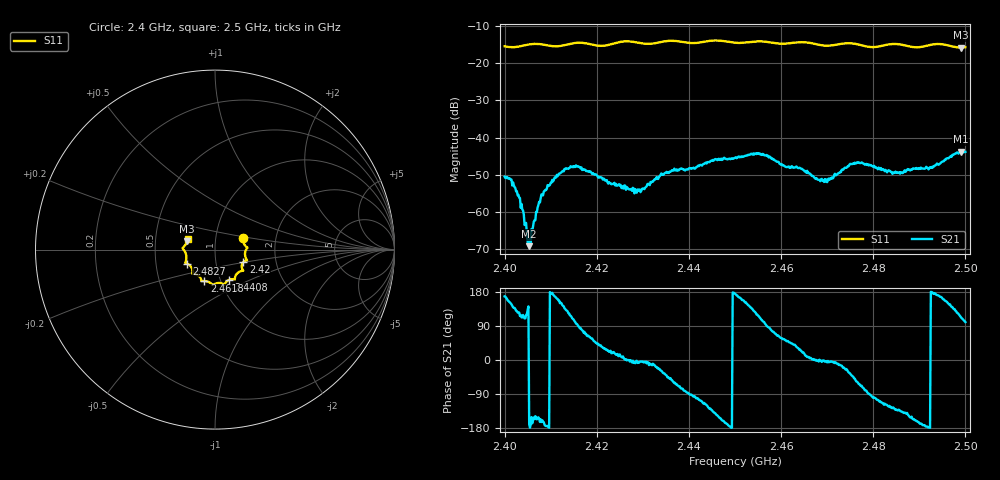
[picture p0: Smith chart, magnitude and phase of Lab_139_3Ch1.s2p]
# Hz S RI R 50
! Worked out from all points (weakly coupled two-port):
!   601 points, 2.4 GHz to 2.5 GHz, reference 50 ohm
!   highest |S21| = -43.84 dB at 2.499 GHz (marker M1); lowest = -69.2 dB at 2.4053 GHz (marker M2)
!   lowest |S11| = -15.8 dB at 2.499 GHz (marker M3), VSWR 1.39, Z = 36.5 + j3.54 ohm
!   |S11| at or under -10 dB: start of sweep to end of sweep
!   S12 and S22 are empty: the file has one direction only
!   S11 on the Smith chart (normalised r, x): 2.4 GHz: 1.36, +0.17; 2.42 GHz: 1.36, -0.19; 2.4408 GHz: 1.10, -0.38; 2.4618 GHz: 0.84, -0.30; 2.4827 GHz: 0.72, -0.12; 2.5 GHz: 0.73, +0.09
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2.4e9  0.1561 0.0625  -0.00292 0.000622  0 0  0 0
2.402833e9  0.1637 0.0283  -0.000963 0.00137  0 0  0 0
2.405333e9  0.1781 0.0131  -0.000341 -6.33e-05  0 0  0 0
2.407667e9  0.18 0.00936  -0.00129 -0.00038  0 0  0 0
2.409e9  0.1746 0.00257  -0.00196 -0.000191  0 0  0 0
2.413e9  0.1695 -0.0411  -0.00274 0.00261  0 0  0 0
2.416667e9  0.1782 -0.0594  0.000653 0.00392  0 0  0 0
2.42e9  0.1579 -0.0692  0.00222 0.00219  0 0  0 0
2.428667e9  0.1477 -0.1192  0.00181 -6.21e-05  0 0  0 0
2.433333e9  0.112 -0.1521  0.00259 -0.000992  0 0  0 0
2.440833e9  0.0787 -0.1686  -0.000352 -0.00385  0 0  0 0
2.45e9  0.0278 -0.1861  -0.00532 0.000489  0 0  0 0
2.455667e9  -0.0134 -0.1956  -0.00172 0.0056  0 0  0 0
2.461833e9  -0.0599 -0.1753  0.00269 0.00284  0 0  0 0
2.466667e9  -0.0769 -0.1685  0.00304 0.00011  0 0  0 0
2.470167e9  -0.0969 -0.1416  0.00274 -0.000119  0 0  0 0
2.4765e9  -0.1258 -0.1282  0.00249 -0.00392  0 0  0 0
2.482667e9  -0.1572 -0.0778  -0.00168 -0.00326  0 0  0 0
2.483333e9  -0.1614 -0.0763  -0.00197 -0.00306  0 0  0 0
2.492333e9  -0.1756 0.000618  -0.004 -7.47e-05  0 0  0 0
2.499e9  -0.1545 0.0472  -0.00259 0.00588  0 0  0 0
2.5e9  -0.1518 0.0617  -0.00112 0.00633  0 0  0 0
